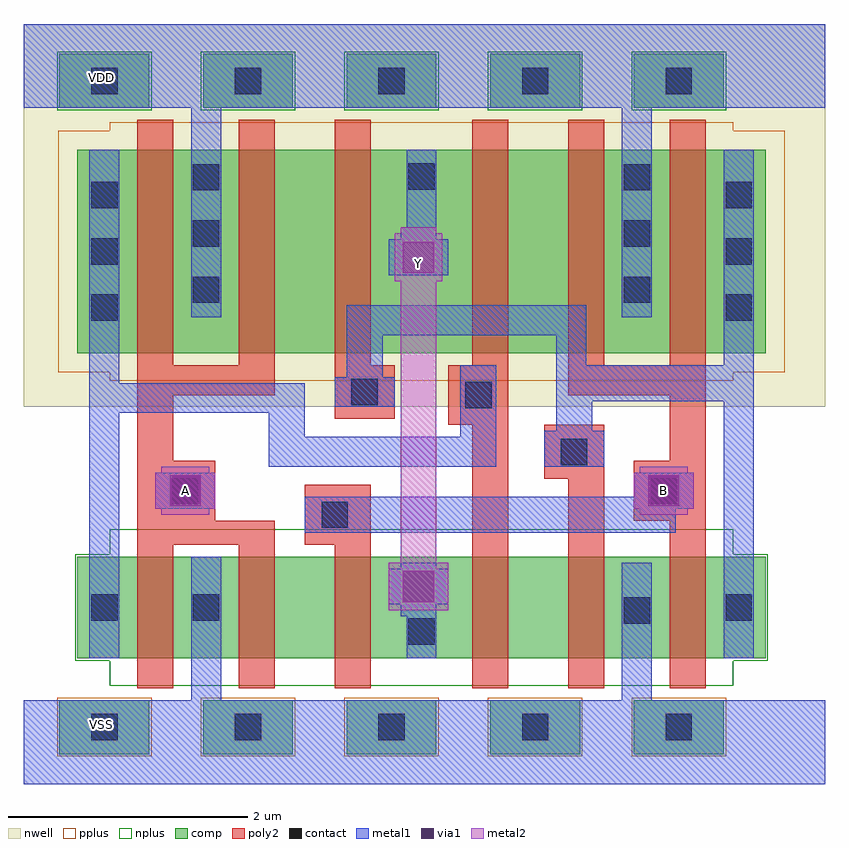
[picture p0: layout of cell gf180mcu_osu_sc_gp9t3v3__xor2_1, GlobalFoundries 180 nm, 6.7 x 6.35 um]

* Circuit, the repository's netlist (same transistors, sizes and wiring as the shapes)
* Copyright 2022 Google LLC
*
* Licensed under the Apache License, Version 2.0 (the "License");
* you may not use this file except in compliance with the License.
* You may obtain a copy of the License at
*
*      http://www.apache.org/licenses/LICENSE-2.0
*
* Unless required by applicable law or agreed to in writing, software
* distributed under the License is distributed on an "AS IS" BASIS,
* WITHOUT WARRANTIES OR CONDITIONS OF ANY KIND, either express or implied.
* See the License for the specific language governing permissions and
* limitations under the License.

.option scale=0.05u

.subckt gf180mcu_osu_sc_gp9t3v3__xor2_1 A Y B
X0 a_42_70 A VDD VDD pmos_3p3 w=34 l=6
X1 VSS a_52_59 a_81_19 VSS nmos_3p3 w=17 l=6
X2 VDD B a_81_70 VDD pmos_3p3 w=34 l=6
X3 Y B a_42_19 VSS nmos_3p3 w=17 l=6
X4 VSS A a_9_19 VSS nmos_3p3 w=17 l=6
X5 Y a_52_59 a_42_70 VDD pmos_3p3 w=34 l=6
X6 VDD A a_9_19 VDD pmos_3p3 w=34 l=6
X7 a_81_19 a_9_19 Y VSS nmos_3p3 w=17 l=6
X8 a_52_59 B VSS VSS nmos_3p3 w=17 l=6
X9 a_81_70 a_9_19 Y VDD pmos_3p3 w=34 l=6
X10 a_52_59 B VDD VDD pmos_3p3 w=34 l=6
X11 a_42_19 A VSS VSS nmos_3p3 w=17 l=6
.ends

** hspice subcircuit dictionary

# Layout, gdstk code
import gdstk
lib = gdstk.Library(unit=1e-6, precision=1e-09)
def R(c, l, rs):  # rectangles x0, y0, x1, y1
    for r in rs: c.add(gdstk.rectangle(r[:2], r[2:], *l))
def A(c, l, x, y, w, h, nx, ny, dx, dy):  # array of equal rectangles
    R(c, l, [(x+i*dx, y+j*dy, x+i*dx+w, y+j*dy+h) for i in range(nx) for j in range(ny)])
nwell = (21, 0)
comp = (22, 0)
poly2 = (30, 0)
pplus = (31, 0)
nplus = (32, 0)
contact = (33, 0)
metal1 = (34, 0)
via1 = (35, 0)
metal2 = (36, 0)

gf180mcu_osu_sc_gp9t3v3_ = lib.new_cell('gf180mcu_osu_sc_gp9t3v3__xor2_1')
R(gf180mcu_osu_sc_gp9t3v3_, nwell, [(0,3.15,6.7,6.35)])
A(gf180mcu_osu_sc_gp9t3v3_, comp, 0.3, 0.25, 0.75, 0.45, 5, 2, 1.2, 5.4)
R(gf180mcu_osu_sc_gp9t3v3_, comp, [(0.45,1.05,6.2,1.9), (0.45,3.6,6.2,5.3)])
R(gf180mcu_osu_sc_gp9t3v3_, poly2, [(0.95,0.8,1.25,2), (1.8,0.8,2.1,2), (2.6,0.8,2.9,2), (3.75,0.8,4.05,3), (4.55,0.8,4.85,2.55), (5.4,0.8,5.7,2.2), (0.95,2,2.1,2.2), (2.35,2,2.9,2.5), (0.95,2.2,1.6,2.7), (5.1,2.2,5.7,2.7), (4.35,2.55,4.85,3), (0.95,2.7,1.25,3.25), (5.4,2.7,5.7,3.25), (3.55,3,4.05,3.5), (2.6,3.05,3.1,3.5), (0.95,3.25,2.1,3.5), (4.55,3.25,5.7,3.5), (0.95,3.5,1.25,5.55), (1.8,3.5,2.1,5.55), (2.6,3.5,2.9,5.55), (3.75,3.5,4.05,5.55), (4.55,3.5,4.85,5.55), (5.4,3.5,5.7,5.55)])
A(gf180mcu_osu_sc_gp9t3v3_, pplus, 0.28, 0.23, 0.79, 0.49, 5, 1, 1.2, 0)
R(gf180mcu_osu_sc_gp9t3v3_, pplus, [(0.72,3.37,5.93,3.44), (0.29,3.44,6.36,5.46), (0.72,5.46,5.93,5.53)])
A(gf180mcu_osu_sc_gp9t3v3_, nplus, 0.28, 5.63, 0.79, 0.49, 5, 1, 1.2, 0)
R(gf180mcu_osu_sc_gp9t3v3_, nplus, [(0.72,0.82,5.93,1.03), (0.43,1.03,6.22,1.92), (0.72,1.92,5.93,2.13)])
A(gf180mcu_osu_sc_gp9t3v3_, contact, 0.565, 0.365, 0.22, 0.22, 5, 2, 1.2, 5.4)
A(gf180mcu_osu_sc_gp9t3v3_, contact, 0.565, 3.87, 0.22, 0.22, 1, 3, 0, 0.47)
A(gf180mcu_osu_sc_gp9t3v3_, contact, 5.865, 3.87, 0.22, 0.22, 1, 3, 0, 0.47)
A(gf180mcu_osu_sc_gp9t3v3_, contact, 1.415, 4.02, 0.22, 0.22, 1, 3, 0, 0.47)
A(gf180mcu_osu_sc_gp9t3v3_, contact, 5.015, 4.02, 0.22, 0.22, 1, 3, 0, 0.47)
R(gf180mcu_osu_sc_gp9t3v3_, contact, [(3.215,1.165,3.435,1.385), (5.015,1.34,5.235,1.56), (0.565,1.365,0.785,1.585), (1.415,1.365,1.635,1.585), (5.865,1.365,6.085,1.585), (2.49,2.14,2.71,2.36), (1.24,2.34,1.46,2.56), (5.24,2.34,5.46,2.56), (4.49,2.665,4.71,2.885), (3.69,3.14,3.91,3.36), (2.74,3.165,2.96,3.385), (3.215,4.965,3.435,5.185)])
R(gf180mcu_osu_sc_gp9t3v3_, metal1, [(0,0,6.7,0.7), (1.4,0.7,1.65,1.9), (5,0.7,5.25,1.85), (0.55,1.05,0.8,3.1), (3.2,1.05,3.45,1.4), (5.85,1.05,6.1,3.2), (3.15,1.4,3.45,1.5), (3.05,1.5,3.55,1.8), (3.15,1.8,3.45,1.85), (2.35,2.1,5.45,2.3), (1.1,2.3,1.6,2.6), (2.35,2.3,5.6,2.4), (5.1,2.4,5.6,2.6), (2.05,2.65,3.95,2.9), (4.35,2.65,4.85,2.95), (2.05,2.9,2.35,3.1), (3.65,2.9,3.95,3.5), (4.45,2.95,4.75,3.2), (0.55,3.1,2.35,3.35), (2.6,3.15,3.1,3.4), (4.45,3.2,6.1,3.5), (0.55,3.35,0.8,5.3), (2.7,3.4,3,3.75), (4.45,3.5,4.7,3.75), (5.85,3.5,6.1,5.3), (2.7,3.75,4.7,4), (1.4,3.9,1.65,5.65), (5,3.9,5.25,5.65), (3.05,4.25,3.55,4.55), (3.15,4.55,3.45,4.65), (3.2,4.65,3.45,5.3), (0,5.65,6.7,6.35)])
R(gf180mcu_osu_sc_gp9t3v3_, via1, [(3.17,1.52,3.43,1.78), (1.22,2.32,1.48,2.58), (5.22,2.32,5.48,2.58), (3.17,4.27,3.43,4.53)])
R(gf180mcu_osu_sc_gp9t3v3_, metal2, [(3.05,1.45,3.55,1.85), (3.15,1.85,3.45,4.2), (1.15,2.25,1.55,2.3), (5.15,2.25,5.55,2.3), (1.1,2.3,1.6,2.6), (5.1,2.3,5.6,2.6), (1.15,2.6,1.55,2.65), (5.15,2.6,5.55,2.65), (3.1,4.2,3.5,4.6), (3.15,4.6,3.45,4.65)])
gf180mcu_osu_sc_gp9t3v3_.add(gdstk.Label('A', (1.35,2.45), layer=36, texttype=10))
gf180mcu_osu_sc_gp9t3v3_.add(gdstk.Label('B', (5.35,2.45), layer=36, texttype=10))
gf180mcu_osu_sc_gp9t3v3_.add(gdstk.Label('Y', (3.3,4.35), layer=36, texttype=10))
gf180mcu_osu_sc_gp9t3v3_.add(gdstk.Label('VDD', (0.65,5.9), layer=34, texttype=10))
gf180mcu_osu_sc_gp9t3v3_.add(gdstk.Label('VSS', (0.65,0.5), layer=34, texttype=10))

lib.write_gds('gf180mcu_osu_sc_gp9t3v3__xor2_1.gds')
